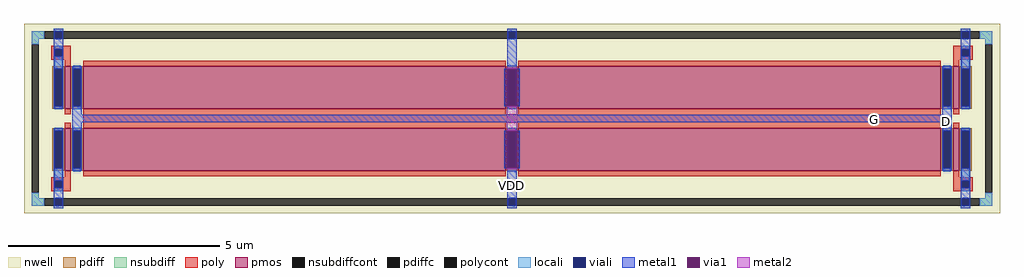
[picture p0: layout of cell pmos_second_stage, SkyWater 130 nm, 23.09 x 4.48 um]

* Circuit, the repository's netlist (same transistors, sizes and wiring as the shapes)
* NGSPICE file created from pmos_second_stage.ext - technology: sky130A

.subckt sky130_fd_pr__pfet_01v8_UK8NHF a_n29_n247# a_n2029_21# a_2029_n247# a_n29_47#
+ a_29_21# a_n2029_n273# a_2029_47# a_n2087_47# a_n2087_n247# a_29_n273# w_n2123_n309#
X0 a_2029_n247# a_29_n273# a_n29_n247# w_n2123_n309# sky130_fd_pr__pfet_01v8 ad=0.29 pd=2.58 as=0.145 ps=1.29 w=1 l=10
X1 a_n29_n247# a_n2029_n273# a_n2087_n247# w_n2123_n309# sky130_fd_pr__pfet_01v8 ad=0.145 pd=1.29 as=0.29 ps=2.58 w=1 l=10
X2 a_n29_47# a_n2029_21# a_n2087_47# w_n2123_n309# sky130_fd_pr__pfet_01v8 ad=0.145 pd=1.29 as=0.29 ps=2.58 w=1 l=10
X3 a_2029_47# a_29_21# a_n29_47# w_n2123_n309# sky130_fd_pr__pfet_01v8 ad=0.29 pd=2.58 as=0.145 ps=1.29 w=1 l=10
.ends

.subckt sky130_fd_pr__pfet_01v8_2XUZHN a_n73_n100# w_n109_n162# a_15_n100# a_n15_n126#
X0 a_15_n100# a_n15_n126# a_n73_n100# w_n109_n162# sky130_fd_pr__pfet_01v8 ad=0.29 pd=2.58 as=0.29 ps=2.58 w=1 l=0.15
.ends

.subckt pmos_second_stage VDD G D
Xsky130_fd_pr__pfet_01v8_UK8NHF_0 VDD G D VDD G G D D D G VDD sky130_fd_pr__pfet_01v8_UK8NHF
Xsky130_fd_pr__pfet_01v8_2XUZHN_0 D VDD VDD VDD sky130_fd_pr__pfet_01v8_2XUZHN
Xsky130_fd_pr__pfet_01v8_2XUZHN_1 VDD VDD D VDD sky130_fd_pr__pfet_01v8_2XUZHN
Xsky130_fd_pr__pfet_01v8_2XUZHN_2 VDD VDD D VDD sky130_fd_pr__pfet_01v8_2XUZHN
Xsky130_fd_pr__pfet_01v8_2XUZHN_3 D VDD VDD VDD sky130_fd_pr__pfet_01v8_2XUZHN
.ends

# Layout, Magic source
magic
tech sky130A
magscale 1 2
<< nwell >>
rect -186 -139 4432 757
<< nsubdiff >>
rect -150 687 -90 721
rect 4336 687 4396 721
rect -150 661 -116 687
rect 4362 661 4396 687
rect -150 -69 -116 -43
rect 4362 -69 4396 -43
rect -150 -103 -90 -69
rect 4336 -103 4396 -69
<< nsubdiffcont >>
rect -90 687 4336 721
rect -150 -43 -116 661
rect 4362 -43 4396 661
rect -90 -103 4336 -69
<< poly >>
rect -56 637 36 653
rect -56 603 -40 637
rect -6 603 36 637
rect -56 587 36 603
rect 6 556 36 587
rect 4210 637 4302 653
rect 4210 603 4252 637
rect 4286 603 4302 637
rect 4210 587 4302 603
rect 4210 582 4240 587
rect 94 288 4152 330
rect 6 31 36 62
rect -56 15 36 31
rect -56 -19 -40 15
rect -6 -19 36 15
rect -56 -35 36 -19
rect 4210 31 4240 62
rect 4210 15 4302 31
rect 4210 -19 4252 15
rect 4286 -19 4302 15
rect 4210 -35 4302 -19
<< polycont >>
rect -40 603 -6 637
rect 4252 603 4286 637
rect -40 -19 -6 15
rect 4252 -19 4286 15
<< locali >>
rect -150 687 -90 721
rect 4336 687 4396 721
rect -150 661 -116 687
rect 4362 661 4396 687
rect -40 637 -6 653
rect -40 556 -6 603
rect 4252 637 4286 653
rect 4252 552 4286 603
rect -40 15 -6 62
rect -40 -35 -6 -19
rect 4252 15 4286 62
rect 4252 -35 4286 -19
rect -150 -69 -116 -43
rect 4362 -69 4396 -43
rect -150 -103 -90 -69
rect 4336 -103 4396 -69
<< viali >>
rect -40 687 -6 721
rect 2106 687 2140 721
rect 4252 687 4286 721
rect -40 603 -6 637
rect 4252 603 4286 637
rect -40 -19 -6 15
rect 4252 -19 4286 15
rect -40 -103 -6 -69
rect 2106 -103 2140 -69
rect 4252 -103 4286 -69
<< metal1 >>
rect -46 721 0 733
rect -46 687 -40 721
rect -6 687 0 721
rect -46 637 0 687
rect -46 603 -40 637
rect -6 603 0 637
rect -46 556 0 603
rect 2100 721 2146 733
rect 2100 687 2106 721
rect 2140 687 2146 721
rect 2100 552 2146 687
rect 4246 721 4292 733
rect 4246 687 4252 721
rect 4286 687 4292 721
rect 4246 637 4292 687
rect 4246 603 4252 637
rect 4286 603 4292 637
rect 4246 553 4292 603
rect 2087 368 2097 544
rect 2149 368 2159 544
rect 42 327 88 367
rect 4158 327 4204 362
rect 42 291 4204 327
rect 42 260 88 291
rect 4158 255 4204 291
rect 2087 74 2097 250
rect 2149 74 2159 250
rect -46 15 0 62
rect -46 -19 -40 15
rect -6 -19 0 15
rect -46 -69 0 -19
rect -46 -103 -40 -69
rect -6 -103 0 -69
rect -46 -115 0 -103
rect 2100 -69 2146 74
rect 2100 -103 2106 -69
rect 2140 -103 2146 -69
rect 2100 -115 2146 -103
rect 4246 15 4292 62
rect 4246 -19 4252 15
rect 4286 -19 4292 15
rect 4246 -69 4292 -19
rect 4246 -103 4252 -69
rect 4286 -103 4292 -69
rect 4246 -115 4292 -103
<< via1 >>
rect 2097 368 2149 544
rect 2097 74 2149 250
<< metal2 >>
rect 2097 544 2149 554
rect 2097 250 2149 368
rect 2097 64 2149 74
use sky130_fd_pr__pfet_01v8_2XUZHN  sky130_fd_pr__pfet_01v8_2XUZHN_0
transform 1 0 4225 0 1 456
box -109 -162 109 162
use sky130_fd_pr__pfet_01v8_2XUZHN  sky130_fd_pr__pfet_01v8_2XUZHN_1
transform 1 0 21 0 1 456
box -109 -162 109 162
use sky130_fd_pr__pfet_01v8_2XUZHN  sky130_fd_pr__pfet_01v8_2XUZHN_2
transform 1 0 21 0 1 162
box -109 -162 109 162
use sky130_fd_pr__pfet_01v8_2XUZHN  sky130_fd_pr__pfet_01v8_2XUZHN_3
transform 1 0 4225 0 1 162
box -109 -162 109 162
use sky130_fd_pr__pfet_01v8_UK8NHF  sky130_fd_pr__pfet_01v8_UK8NHF_0
transform 1 0 2123 0 1 309
box -2123 -309 2123 309
<< labels >>
flabel metal1 2122 -10 2122 -10 0 FreeSans 160 0 0 0 VDD
port 0 nsew
flabel poly 3840 302 3840 302 0 FreeSans 160 0 0 0 G
port 4 nsew
flabel metal1 4177 296 4177 296 0 FreeSans 160 0 0 0 D
port 5 nsew
<< end >>

# cell sky130_fd_pr__pfet_01v8_2XUZHN: kit device sky130_fd_pr__pfet_01v8, w 1 l 0.15 m 1 nf 1 diffcov 100 polycov 100 guard 0 glc 1 grc 1 gtc 1 gbc 1 tbcov 100 rlcov 100 topc 0 botc 0 poverlap 0 doverlap 1 lmin 0.15 wmin 0.42 compatible {sky130_fd_pr__pfet_01v8 sky130_fd_pr__pfet_01v8_lvt sky130_fd_pr__pfet_01v8_hvt sky130_fd_pr__pfet_g5v0d10v5} full_metal 1 viasrc 100 viadrn 100 viagate 100 viagb 0 viagr 0 viagl 0 viagt 0

# cell sky130_fd_pr__pfet_01v8_UK8NHF: kit device sky130_fd_pr__pfet_01v8, w 1 l 10 m 2 nf 2 diffcov 100 polycov 100 guard 0 glc 1 grc 1 gtc 1 gbc 1 tbcov 100 rlcov 100 topc 0 botc 0 poverlap 0 doverlap 1 lmin 0.15 wmin 0.42 compatible {sky130_fd_pr__pfet_01v8 sky130_fd_pr__pfet_01v8_lvt sky130_fd_pr__pfet_01v8_hvt sky130_fd_pr__pfet_g5v0d10v5} full_metal 1 viasrc 100 viadrn 100 viagate 100 viagb 0 viagr 0 viagl 0 viagt 0
